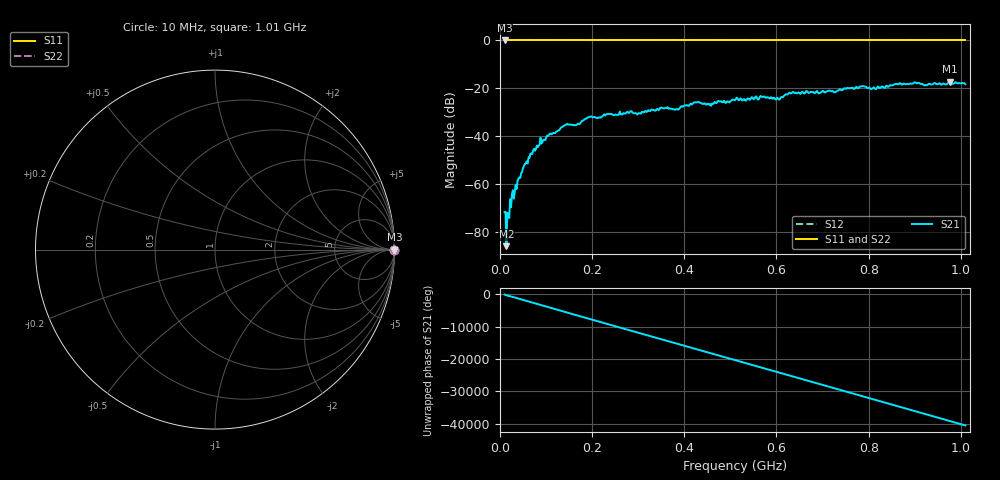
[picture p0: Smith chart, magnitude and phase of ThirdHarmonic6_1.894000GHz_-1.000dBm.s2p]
! 8/16/2025 10:52:12 PM
! C:\ANRITSUVNA\TEMP\TEMP.S2P
! CHANNEL.1
! TR.MEASUREMENT
! RAW.DATA
! RF.CORRECTION.OFF
! AVERAGING.OFF
! IF.BANDWIDTH: 5KHZ
! SWEEPTYPE:  FREQ.SWEEP(Linear)
! Reference Plane Port Info
! PORT:  PORT1  PORT2
! DISTANCE:  0  m  0  m
! TIME:  0  s  0  s
! PHASE.OFFSET:  0  deg.  0  deg.
! LOSS:  0  dB  0  dB
! REF.LOSS:  0  dB  0  dB
! REF.FREQ:  0  Hz  0  Hz
! Power Info
! POWER:  -20  dBm  -20  dBm
! EFF.POWER:  -20  dBm  -20  dBm
! SOURCE.ATTEN:  0  dB  0  dB
! TEST.ATTEN:  0  dB  0  dB
# GHZ S RI R 50.0
! FREQ.GHZ  S11RE  S11IM  S21RE  S21IM  S12RE  S12IM  S22RE  S22IM
!; PortSelection: Port_12
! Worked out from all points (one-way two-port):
!   501 points, 10 MHz to 1.01 GHz, reference 50 ohm
!   highest |S21| = -17.19 dB at 976 MHz (marker M1); lowest = -85.9 dB at 14 MHz (marker M2)
!   lowest |S11| = 0.0 dB at 10 MHz (marker M3)
!   |S11| at or under -10 dB: nowhere
!   |S22| runs from 0.0 to 0.0 dB; largest |S21 - S12| = 1.1
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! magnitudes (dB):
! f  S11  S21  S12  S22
! 10 MHz  0.0  -71.6  0.0  0.0
! 14 MHz  0.0  -85.9  0.0  0.0
! 18 MHz  0.0  -72.5  0.0  0.0
! 26 MHz  0.0  -64.0  0.0  0.0
! 42 MHz  0.0  -57.3  0.0  0.0
! 70 MHz  0.0  -47.4  0.0  0.0
! 106 MHz  0.0  -39.4  0.0  0.0
! 142 MHz  0.0  -35.3  0.0  0.0
! 178 MHz  0.0  -33.6  0.0  0.0
! 194 MHz  0.0  -31.9  0.0  0.0
! 344 MHz  0.0  -29.1  0.0  0.0
! 384 MHz  0.0  -28.6  0.0  0.0
! 424 MHz  0.0  -25.8  0.0  0.0
! 458 MHz  0.0  -27.3  0.0  0.0
! 510 MHz  0.0  -25.0  0.0  0.0
! 570 MHz  0.0  -23.6  0.0  0.0
! 602 MHz  0.0  -23.9  0.0  0.0
! 632 MHz  0.0  -22.1  0.0  0.0
! 678 MHz  0.0  -21.5  0.0  0.0
! 844 MHz  0.0  -19.2  0.0  0.0
! 976 MHz  0.0  -17.2  0.0  0.0
! 1.01 GHz  0.0  -18.3  0.0  0.0
